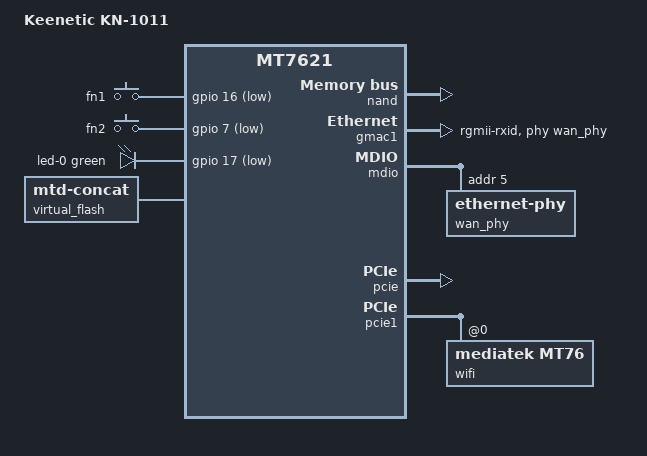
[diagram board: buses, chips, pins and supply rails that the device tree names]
// SPDX-License-Identifier: GPL-2.0-or-later OR MIT

#include "mt7621.dtsi"

#include <dt-bindings/gpio/gpio.h>
#include <dt-bindings/input/input.h>
#include <dt-bindings/leds/common.h>

/ {
	compatible = "keenetic,kn-1011", "mediatek,mt7621-soc";
	model = "Keenetic KN-1011";

	aliases {
		label-mac-device = &gmac1;
	};

	chosen {
		bootargs = "console=ttyS0,115200";
	};

	keys {
		compatible = "gpio-keys";

		fn1 {
			label = "fn1";
			gpios = <&gpio 16 GPIO_ACTIVE_LOW>;
			linux,code = <BTN_1>;
		};

		fn2 {
			label = "fn2";
			gpios = <&gpio 7 GPIO_ACTIVE_LOW>;
			linux,code = <BTN_2>;
		};
	};

	leds {
		compatible = "gpio-leds";

		led-0 {
			function = LED_FUNCTION_WAN;
			color = <LED_COLOR_ID_GREEN>;
			gpios = <&gpio 17 GPIO_ACTIVE_LOW>;
		};
	};

	virtual_flash {
		compatible = "mtd-concat";
		devices = <&firmware1 &storage_a &firmware2 &storage_b>;

		partitions {
			compatible = "fixed-partitions";
			#address-cells = <1>;
			#size-cells = <1>;

			partition@0 {
				label = "kernel";
				reg = <0x0 0x400000>;
			};

			partition@400000 {
				label = "ubi";
				reg = <0x400000 0x7240000>;
			};
		};
	};
};

&state_default {
	gpio {
		groups = "uart3", "jtag";
		function = "gpio";
	};
};

&nand {
	status = "okay";

	partitions {
		compatible = "fixed-partitions";
		#address-cells = <1>;
		#size-cells = <1>;

		partition@0 {
			label = "u-boot";
			reg = <0x0 0x80000>;
			read-only;
		};

		partition@80000 {
			label = "u-config";
			reg = <0x80000 0x80000>;
			read-only;
		};

		partition@100000 {
			label = "rf-eeprom";
			reg = <0x100000 0x80000>;
			read-only;

			nvmem-layout {
				compatible = "fixed-layout";
				#address-cells = <1>;
				#size-cells = <1>;

				eeprom_factory_0: eeprom@0 {
					reg = <0x0 0xe00>;
				};

				macaddr_factory_4: macaddr@4 {
					reg = <0x4 0x6>;
				};

				macaddr_factory_a: macaddr@a {
					reg = <0xa 0x6>;
				};

				precal_factory_e10: precal@e10 {
					reg = <0xe10 0x19c10>;
				};
			};
		};

		firmware1: partition@180000 {
			label = "firmware_1";
			reg = <0x180000 0x2a40000>;
		};

		partition@2bc0000 {
			label = "config_1";
			reg = <0x2bc0000 0x200000>;
			read-only;
		};

		partition@2dc0000 {
			label = "storage_legacy";
			reg = <0x2dc0000 0x200000>;
			read-only;
		};

		partition@2fc0000 {
			label = "dump";
			reg = <0x2fc0000 0x40000>;
			read-only;
		};

		storage_a: partition@3000000 {
			label = "storage_a";
			reg = <0x3000000 0xfc0000>;
		};

		partition@3fc0000 {
			label = "u-state";
			reg = <0x3fc0000 0x80000>;
			read-only;
		};

		partition@4040000 {
			label = "d-state";
			reg = <0x4040000 0x80000>;
			read-only;
		};

		partition@40c0000 {
			label = "rf-eeprom_res";
			reg = <0x40c0000 0x80000>;
			read-only;
		};

		firmware2: partition@4140000 {
			label = "firmware_2";
			reg = <0x4140000 0x2a40000>;
		};

		partition@6b80000 {
			label = "config_2";
			reg = <0x6b80000 0x200000>;
			read-only;
		};

		storage_b: partition@6d80000 {
			label = "storage_b";
			reg = <0x6d80000 0x1200000>;
		};
	};
};

&gmac0 {
	nvmem-cells = <&macaddr_factory_4>;
	nvmem-cell-names = "mac-address";
};

/*
 * WAN is the copper side of the RJ-45/SFP combo port. The RTL8211F only
 * adds the RX delay (rgmii-rxid): with rgmii-id the link comes up but no
 * traffic passes.
 */
&gmac1 {
	status = "okay";
	label = "wan";
	phy-mode = "rgmii-rxid";
	phy-handle = <&wan_phy>;

	nvmem-cells = <&macaddr_factory_a>;
	nvmem-cell-names = "mac-address";
};

&mdio {
	wan_phy: ethernet-phy@5 {
		reg = <5>;
	};
};

&reg_vbus {
	/delete-property/ regulator-always-on;
	gpios = <&gpio 5 GPIO_ACTIVE_HIGH>;
	enable-active-high;
};

/* Physical sockets LAN1..LAN4 are switch ports 3..0; port 4 has no socket. */
&switch0 {
	ports {
		port@0 {
			status = "okay";
			label = "lan4";
		};

		port@1 {
			status = "okay";
			label = "lan3";
		};

		port@2 {
			status = "okay";
			label = "lan2";
		};

		port@3 {
			status = "okay";
			label = "lan1";
		};
	};
};

&pcie {
	status = "okay";
};

&pcie1 {
	wifi@0,0 {
		compatible = "mediatek,mt76";
		reg = <0x0000 0 0 0 0>;
		nvmem-cells = <&eeprom_factory_0>, <&precal_factory_e10>;
		nvmem-cell-names = "eeprom", "precal";
		mediatek,disable-radar-background;
	};
};
